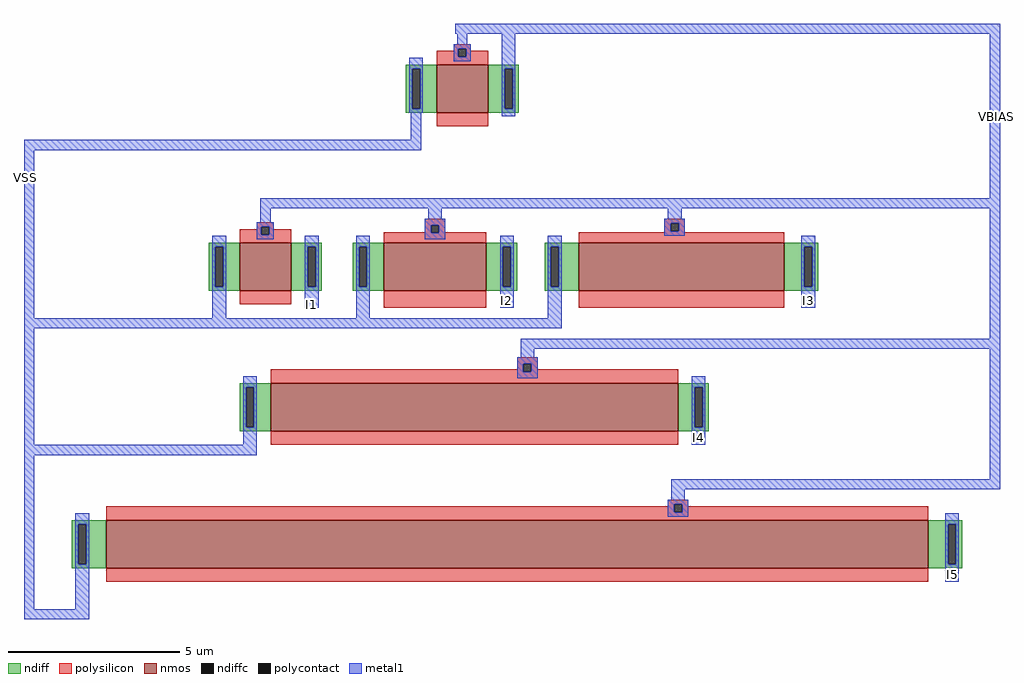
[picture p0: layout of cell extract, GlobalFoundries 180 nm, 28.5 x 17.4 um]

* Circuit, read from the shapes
.subckt extract I1 I2 I3 I4 I5 VBIAS VSS
XM1 I5 VBIAS VSS VSUBS nfet_03v3 w=1.4u l=24u
XM2 I1 VBIAS VSS VSUBS nfet_03v3 w=1.4u l=1.5u
XM3 I4 VBIAS VSS VSUBS nfet_03v3 w=1.4u l=11.9u
XM4 I2 VBIAS VSS VSUBS nfet_03v3 w=1.4u l=3u
XM5 VBIAS VBIAS VSS VSUBS nfet_03v3 w=1.4u l=1.5u
XM6 I3 VBIAS VSS VSUBS nfet_03v3 w=1.4u l=6u
.ends

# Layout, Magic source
magic
tech gf180mcuD
magscale 1 10
<< nmos >>
rect 1130 -440 1430 -160
rect -20 -1480 280 -1200
rect 820 -1480 1420 -1200
rect 1960 -1480 3160 -1200
rect 160 -2300 2540 -2020
rect -800 -3100 4000 -2820
<< ndiff >>
rect 950 -183 1130 -160
rect 950 -417 987 -183
rect 1033 -417 1130 -183
rect 950 -440 1130 -417
rect 1430 -183 1610 -160
rect 1430 -417 1527 -183
rect 1573 -417 1610 -183
rect 1430 -440 1610 -417
rect -200 -1223 -20 -1200
rect -200 -1457 -163 -1223
rect -117 -1457 -20 -1223
rect -200 -1480 -20 -1457
rect 280 -1223 460 -1200
rect 280 -1457 377 -1223
rect 423 -1457 460 -1223
rect 280 -1480 460 -1457
rect 640 -1223 820 -1200
rect 640 -1457 677 -1223
rect 723 -1457 820 -1223
rect 640 -1480 820 -1457
rect 1420 -1223 1600 -1200
rect 1420 -1457 1517 -1223
rect 1563 -1457 1600 -1223
rect 1420 -1480 1600 -1457
rect 1760 -1223 1960 -1200
rect 1760 -1457 1797 -1223
rect 1843 -1457 1960 -1223
rect 1760 -1480 1960 -1457
rect 3160 -1223 3360 -1200
rect 3160 -1457 3277 -1223
rect 3323 -1457 3360 -1223
rect 3160 -1480 3360 -1457
rect -20 -2043 160 -2020
rect -20 -2277 17 -2043
rect 63 -2277 160 -2043
rect -20 -2300 160 -2277
rect 2540 -2043 2720 -2020
rect 2540 -2277 2637 -2043
rect 2683 -2277 2720 -2043
rect 2540 -2300 2720 -2277
rect -1000 -2843 -800 -2820
rect -1000 -3077 -963 -2843
rect -917 -3077 -800 -2843
rect -1000 -3100 -800 -3077
rect 4000 -2843 4200 -2820
rect 4000 -3077 4117 -2843
rect 4163 -3077 4200 -2843
rect 4000 -3100 4200 -3077
<< ndiffc >>
rect 987 -417 1033 -183
rect 1527 -417 1573 -183
rect -163 -1457 -117 -1223
rect 377 -1457 423 -1223
rect 677 -1457 723 -1223
rect 1517 -1457 1563 -1223
rect 1797 -1457 1843 -1223
rect 3277 -1457 3323 -1223
rect 17 -2277 63 -2043
rect 2637 -2277 2683 -2043
rect -963 -3077 -917 -2843
rect 4117 -3077 4163 -2843
<< polysilicon >>
rect 1230 -67 1330 -40
rect 1230 -80 1257 -67
rect 1130 -113 1257 -80
rect 1303 -80 1330 -67
rect 1303 -113 1430 -80
rect 1130 -160 1430 -113
rect 1130 -520 1430 -440
rect 80 -1107 180 -1080
rect 80 -1120 107 -1107
rect -20 -1153 107 -1120
rect 153 -1120 180 -1107
rect 1060 -1097 1180 -1060
rect 153 -1153 280 -1120
rect 1060 -1140 1097 -1097
rect -20 -1200 280 -1153
rect 820 -1143 1097 -1140
rect 1143 -1140 1180 -1097
rect 2460 -1087 2580 -1060
rect 2460 -1133 2497 -1087
rect 2543 -1133 2580 -1087
rect 2460 -1140 2580 -1133
rect 1143 -1143 1420 -1140
rect 820 -1200 1420 -1143
rect 1960 -1200 3160 -1140
rect -20 -1560 280 -1480
rect 820 -1580 1420 -1480
rect 1960 -1580 3160 -1480
rect 1600 -1907 1720 -1870
rect 1600 -1940 1637 -1907
rect 160 -1953 1637 -1940
rect 1683 -1940 1720 -1907
rect 1683 -1953 2540 -1940
rect 160 -2020 2540 -1953
rect 160 -2380 2540 -2300
rect 2480 -2727 2600 -2700
rect 2480 -2740 2517 -2727
rect -800 -2773 2517 -2740
rect 2563 -2740 2600 -2727
rect 2563 -2773 4000 -2740
rect -800 -2820 4000 -2773
rect -800 -3180 4000 -3100
<< polycontact >>
rect 1257 -113 1303 -67
rect 107 -1153 153 -1107
rect 1097 -1143 1143 -1097
rect 2497 -1133 2543 -1087
rect 1637 -1953 1683 -1907
rect 2517 -2773 2563 -2727
<< metal1 >>
rect 1240 20 4420 80
rect 1250 -40 1310 20
rect 1230 -67 1330 -40
rect 1230 -113 1257 -67
rect 1303 -113 1330 -67
rect 970 -183 1050 -120
rect 1230 -140 1330 -113
rect 970 -417 987 -183
rect 1033 -417 1050 -183
rect 970 -440 1050 -417
rect 1510 -183 1590 20
rect 1510 -417 1527 -183
rect 1573 -417 1590 -183
rect 980 -600 1040 -440
rect 1510 -460 1590 -417
rect -1280 -660 1040 -600
rect -1280 -1640 -1220 -660
rect 4360 -940 4420 20
rect 100 -1000 4420 -940
rect 100 -1080 160 -1000
rect 1080 -1060 1160 -1000
rect 2480 -1060 2560 -1000
rect 80 -1107 180 -1080
rect 80 -1153 107 -1107
rect 153 -1153 180 -1107
rect -180 -1223 -100 -1160
rect 80 -1180 180 -1153
rect 1060 -1097 1180 -1060
rect 1060 -1143 1097 -1097
rect 1143 -1143 1180 -1097
rect -180 -1457 -163 -1223
rect -117 -1457 -100 -1223
rect -180 -1640 -100 -1457
rect 360 -1223 440 -1160
rect 360 -1457 377 -1223
rect 423 -1457 440 -1223
rect 360 -1580 440 -1457
rect 660 -1223 740 -1160
rect 1060 -1180 1180 -1143
rect 2460 -1087 2580 -1060
rect 2460 -1133 2497 -1087
rect 2543 -1133 2580 -1087
rect 2460 -1160 2580 -1133
rect 660 -1457 677 -1223
rect 723 -1457 740 -1223
rect 660 -1640 740 -1457
rect 1500 -1223 1580 -1160
rect 1500 -1457 1517 -1223
rect 1563 -1457 1580 -1223
rect 1500 -1580 1580 -1457
rect 1780 -1223 1860 -1160
rect 1780 -1457 1797 -1223
rect 1843 -1457 1860 -1223
rect 1780 -1640 1860 -1457
rect 3260 -1223 3340 -1160
rect 3260 -1457 3277 -1223
rect 3323 -1457 3340 -1223
rect 3260 -1580 3340 -1457
rect -1280 -1700 1860 -1640
rect -1280 -2380 -1220 -1700
rect 4360 -1760 4420 -1000
rect 1620 -1820 4420 -1760
rect 1620 -1870 1700 -1820
rect 1600 -1907 1720 -1870
rect 1600 -1953 1637 -1907
rect 1683 -1953 1720 -1907
rect 0 -2043 80 -1980
rect 1600 -1990 1720 -1953
rect 0 -2277 17 -2043
rect 63 -2277 80 -2043
rect 0 -2380 80 -2277
rect 2620 -2043 2700 -1980
rect 2620 -2277 2637 -2043
rect 2683 -2277 2700 -2043
rect 2620 -2380 2700 -2277
rect -1280 -2440 80 -2380
rect -1280 -3340 -1220 -2440
rect 4360 -2580 4420 -1820
rect 2500 -2640 4420 -2580
rect 2500 -2700 2580 -2640
rect 2480 -2727 2600 -2700
rect 2480 -2773 2517 -2727
rect 2563 -2773 2600 -2727
rect -980 -2843 -900 -2780
rect 2480 -2800 2600 -2773
rect -980 -3077 -963 -2843
rect -917 -3077 -900 -2843
rect -980 -3340 -900 -3077
rect 4100 -2843 4180 -2780
rect 4100 -3077 4117 -2843
rect 4163 -3077 4180 -2843
rect 4100 -3180 4180 -3077
rect -1280 -3400 -900 -3340
<< labels >>
rlabel metal1 400 -1560 400 -1560 4 I1
rlabel metal1 1540 -1540 1540 -1540 4 I2
rlabel metal1 3300 -1540 3300 -1540 4 I3
rlabel metal1 2660 -2340 2660 -2340 4 I4
rlabel metal1 4140 -3140 4140 -3140 4 I5
rlabel metal1 -1270 -820 -1270 -820 4 VSS
rlabel metal1 4400 -460 4400 -460 4 VBIAS
<< end >>
